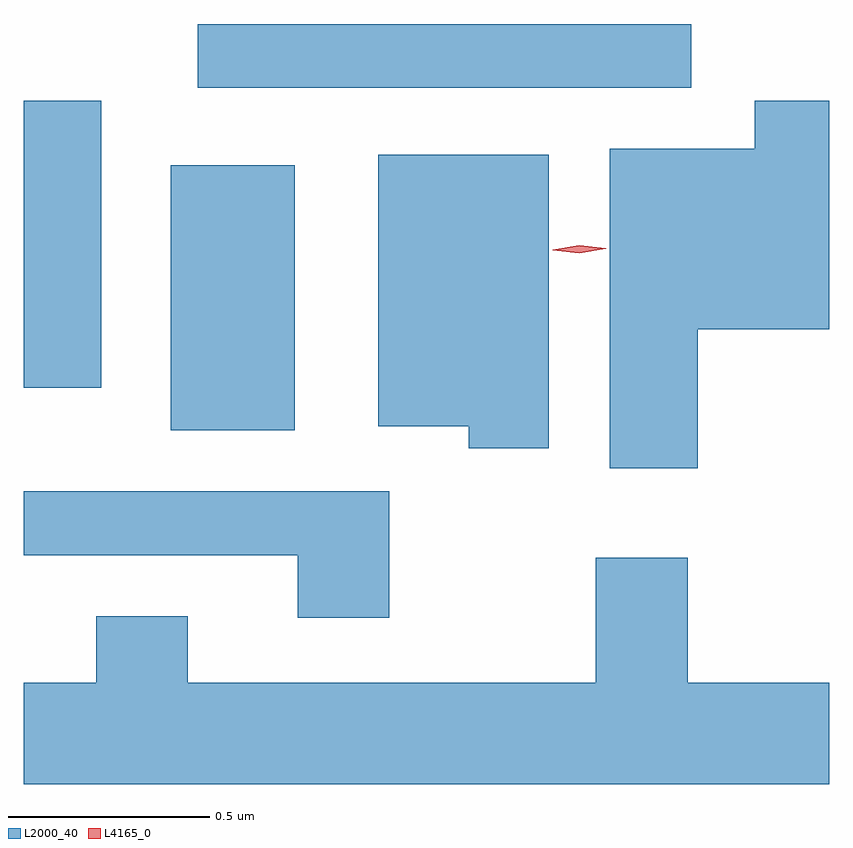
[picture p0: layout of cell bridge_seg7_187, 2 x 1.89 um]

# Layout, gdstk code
import gdstk
lib = gdstk.Library(unit=1e-6, precision=1e-09)
def R(c, l, rs):  # rectangles x0, y0, x1, y1
    for r in rs: c.add(gdstk.rectangle(r[:2], r[2:], *l))
def P(c, l, *ps):  # polygons
    for p in ps: c.add(gdstk.Polygon(p, *l))
L2000_40 = (2000, 40)
L4165_0 = (4165, 0)

bridge_seg7_187 = lib.new_cell('bridge_seg7_187')
R(bridge_seg7_187, L2000_40, [(1587.996,1724.091,1588.304,1724.749), (1587.631,1724.196,1587.824,1724.909), (1588.063,1724.941,1589.288,1725.099)])
P(bridge_seg7_187, L2000_40, [(1589.304,1724.341),(1589.631,1724.341),(1589.631,1724.909),(1589.446,1724.909),(1589.446,1724.789),(1589.086,1724.789),(1589.086,1723.996),(1589.304,1723.996)],
  [(1588.934,1724.774),(1588.511,1724.774),(1588.511,1724.101),(1588.736,1724.101),(1588.736,1724.046),(1588.934,1724.046)],
  [(1588.539,1723.939),(1587.631,1723.939),(1587.631,1723.781),(1588.311,1723.781),(1588.311,1723.626),(1588.539,1723.626)],
  [(1589.631,1723.464),(1589.279,1723.464),(1589.279,1723.774),(1589.051,1723.774),(1589.051,1723.464),(1588.039,1723.464),(1588.039,1723.629),(1587.811,1723.629),(1587.811,1723.464),(1587.631,1723.464),(1587.631,1723.213),(1589.631,1723.213)])
P(bridge_seg7_187, L4165_0, [(1589.01,1724.53),(1588.944,1724.538),(1588.944,1724.539),(1588.944,1724.539),(1589.01,1724.55),(1589.076,1724.542),(1589.077,1724.541),(1589.076,1724.541)])

lib.write_gds('bridge_seg7_187.gds')
